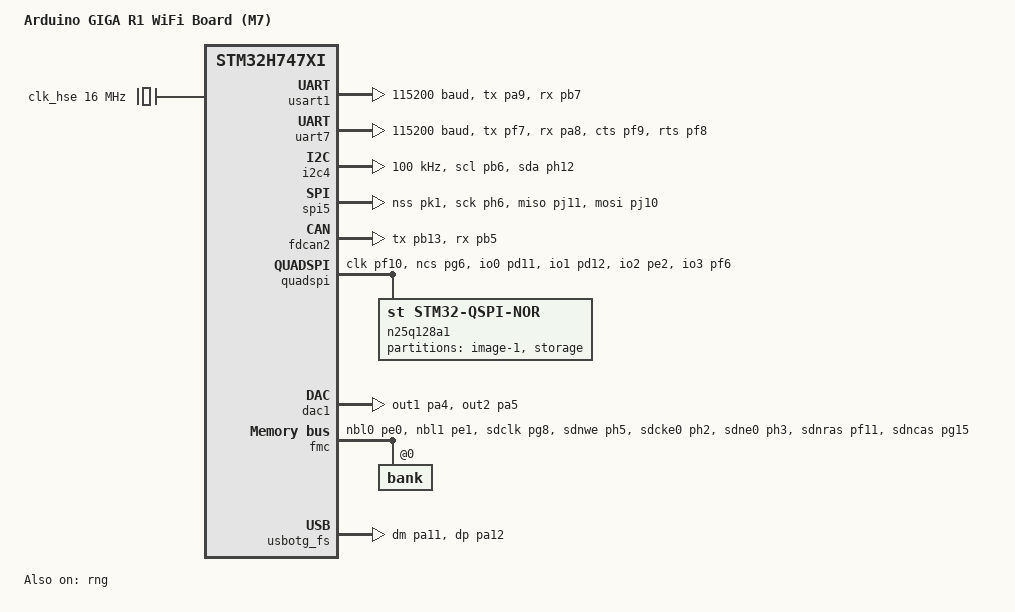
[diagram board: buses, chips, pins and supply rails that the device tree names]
/*
 * Copyright 2023 Google LLC
 *
 * SPDX-License-Identifier: Apache-2.0
 */

/dts-v1/;
#include <st/h7/stm32h747Xi_m7.dtsi>
#include <st/h7/stm32h747xihx-pinctrl.dtsi>
#include <zephyr/dt-bindings/memory-attr/memory-attr-arm.h>
#include "arduino_giga_r1.dtsi"

/ {
	model = "Arduino GIGA R1 WiFi Board (M7)";
	compatible = "arduino,giga-r1";

	chosen {
		zephyr,console = &usart1;
		zephyr,shell-uart = &usart1;
		zephyr,uart-mcumgr = &usart1;
		zephyr,bt-hci = &bt_hci_uart;
		zephyr,sram = &sram0;
		zephyr,flash = &flash0;
		zephyr,canbus = &fdcan2;
		zephyr,code-partition = &slot0_partition;
	};

	sdram1: sdram@c0000000 {
		compatible = "zephyr,memory-region", "mmio-sram";
		device_type = "memory";
		reg = <0xc0000000 DT_SIZE_M(8)>;
		zephyr,memory-region = "SDRAM1";
		zephyr,memory-attr = <( DT_MEM_ARM(ATTR_MPU_RAM) )>;
	};

	aliases {
		led0 = &red_led;
		led1 = &green_led;
		sw0 = &user_button;
	};
};

&clk_hse {
	status = "okay";
	clock-frequency = <DT_FREQ_M(16)>;
};

&clk_lse {
	status = "okay";
};

&clk_hsi48 {
	status = "okay";
};

&pll {
	div-m = <2>;
	mul-n = <120>;
	div-p = <2>;
	div-q = <4>;
	div-r = <2>;
	clocks = <&clk_hse>;
	status = "okay";
};

&rcc {
	clocks = <&pll>;
	clock-frequency = <DT_FREQ_M(480)>;
};

&usart1 {
	status = "okay";
	pinctrl-0 = <&usart1_tx_pa9 &usart1_rx_pb7>;
	pinctrl-names = "default";
	current-speed = <115200>;
};

&usart6 {
	status = "disabled";
	pinctrl-0 = <&usart6_tx_pg14 &usart6_rx_pc7>;
	pinctrl-names = "default";
	current-speed = <115200>;
};

&uart4 {
	status = "disabled";
	pinctrl-0 = <&uart4_tx_ph13 &uart4_rx_pi9>;
	pinctrl-names = "default";
	current-speed = <115200>;
};

&uart7 {
	pinctrl-0 = <&uart7_tx_pf7 &uart7_rx_pa8
		     &uart7_cts_pf9 &uart7_rts_pf8>;
	pinctrl-names = "default";
	current-speed = <115200>;
	status = "okay";
	hw-flow-control;

	bt_hci_uart: bt_hci_uart {
		compatible = "zephyr,bt-hci-uart";
		status = "okay";

		murata-1dx {
			compatible = "infineon,cyw43xxx-bt-hci";
			bt-reg-on-gpios = <&gpioa 10 GPIO_ACTIVE_HIGH>;
			bt-host-wake-gpios = <&gpiog 3 GPIO_ACTIVE_HIGH>;
			bt-dev-wake-gpios = <&gpioh 7 GPIO_ACTIVE_HIGH>;
			fw-download-speed = <115200>;
		};
	};
};

&i2c4 {
	status = "okay";
	pinctrl-0 = <&i2c4_scl_pb6 &i2c4_sda_ph12>;
	pinctrl-names = "default";
	clock-frequency = <I2C_BITRATE_STANDARD>;
};

&i2c1 {
	status = "disabled";
	pinctrl-0 = <&i2c1_scl_pb8 &i2c1_sda_pb9>;
	pinctrl-names = "default";
	clock-frequency = <I2C_BITRATE_FAST>;
};

&i2c2 {
	status = "disabled";
	pinctrl-0 = <&i2c2_scl_ph4 &i2c2_sda_pb11>;
	pinctrl-names = "default";
	clock-frequency = <I2C_BITRATE_FAST>;
};

&spi5 {
	status = "okay";
	pinctrl-0 = <&spi5_nss_pk1 &spi5_sck_ph6
		     &spi5_miso_pj11 &spi5_mosi_pj10>;
	pinctrl-names = "default";
};

&fdcan2 {
	status = "okay";
	pinctrl-0 = <&fdcan2_tx_pb13 &fdcan2_rx_pb5>;
	pinctrl-names = "default";
	clocks = <&rcc STM32_CLOCK_BUS_APB1_2 0x00000100>,
		 <&rcc STM32_SRC_PLL1_Q FDCAN_SEL(1)>;
};

&flash0 {
	partitions {
		compatible = "fixed-partitions";
		#address-cells = <1>;
		#size-cells = <1>;

		boot_partition: partition@0 {
			label = "bootloader";
			reg = <0x0 0x40000>;
			read-only;
		};

		slot0_partition: partition@40000 {
			label = "image-0";
			reg = <0x40000 0x000c0000>;
		};
	};
};

&quadspi {
	pinctrl-0 = <&quadspi_clk_pf10 &quadspi_bk1_ncs_pg6
		     &quadspi_bk1_io0_pd11 &quadspi_bk1_io1_pd12
		     &quadspi_bk1_io2_pe2 &quadspi_bk1_io3_pf6>;
	pinctrl-names = "default";
	status = "okay";

	n25q128a1: qspi-nor-flash@90000000 {
		compatible = "st,stm32-qspi-nor";
		reg = <0x90000000 DT_SIZE_M(16)>; /* 128 Mbits */
		qspi-max-frequency = <72000000>;
		status = "okay";

		partitions {
			compatible = "fixed-partitions";
			#address-cells = <1>;
			#size-cells = <1>;

			slot1_partition: partition@0 {
				label = "image-1";
				reg = <0x00000000 DT_SIZE_M(1)>;
			};

			storage_partition: partition@100000 {
				label = "storage";
				reg = <0x00100000 DT_SIZE_M(15)>;
			};
		};
	};
};

&rng {
	status = "okay";
};

&dac1 {
	status = "okay";
	pinctrl-0 = <&dac1_out1_pa4 &dac1_out2_pa5>;
	pinctrl-names = "default";
};

&fmc {
	status = "okay";
	pinctrl-0 = <&fmc_nbl0_pe0 &fmc_nbl1_pe1
		     &fmc_sdclk_pg8 &fmc_sdnwe_ph5 &fmc_sdcke0_ph2
		     &fmc_sdne0_ph3 &fmc_sdnras_pf11 &fmc_sdncas_pg15

		     &fmc_a0_pf0 &fmc_a1_pf1 &fmc_a2_pf2 &fmc_a3_pf3 &fmc_a4_pf4
		     &fmc_a5_pf5 &fmc_a6_pf12 &fmc_a7_pf13 &fmc_a8_pf14
		     &fmc_a9_pf15 &fmc_a10_pg0 &fmc_a11_pg1 &fmc_a12_pg2
		     &fmc_a14_pg4 &fmc_a15_pg5

		     &fmc_d0_pd14 &fmc_d1_pd15 &fmc_d2_pd0 &fmc_d3_pd1
		     &fmc_d4_pe7 &fmc_d5_pe8 &fmc_d6_pe9 &fmc_d7_pe10
		     &fmc_d8_pe11 &fmc_d9_pe12 &fmc_d10_pe13 &fmc_d11_pe14
		     &fmc_d12_pe15 &fmc_d13_pd8 &fmc_d14_pd9 &fmc_d15_pd10>;
	pinctrl-names = "default";

	sdram {
		status = "okay";

		power-up-delay = <100>;
		num-auto-refresh = <8>;
		mode-register = <0x220>;
		refresh-rate = <603>;

		bank@0 {
			reg = <0>;
			st,sdram-control = <STM32_FMC_SDRAM_NC_8
					    STM32_FMC_SDRAM_NR_12
					    STM32_FMC_SDRAM_MWID_16
					    STM32_FMC_SDRAM_NB_4
					    STM32_FMC_SDRAM_CAS_2
					    STM32_FMC_SDRAM_SDCLK_PERIOD_2
					    STM32_FMC_SDRAM_RBURST_ENABLE
					    STM32_FMC_SDRAM_RPIPE_0>;
			st,sdram-timing = <2 6 4 6 2 2 2>;
		};
	};
};

zephyr_udc0: &usbotg_fs {
	status = "okay";
	pinctrl-0 = <&usb_otg_fs_dm_pa11 &usb_otg_fs_dp_pa12>;
	pinctrl-names = "default";
};
